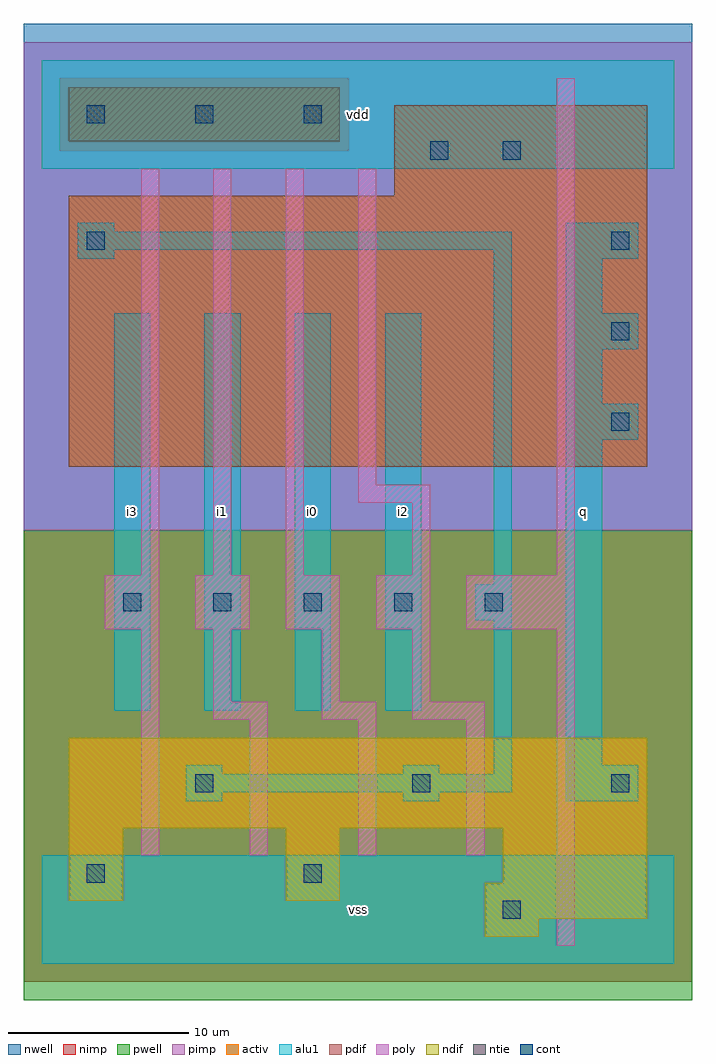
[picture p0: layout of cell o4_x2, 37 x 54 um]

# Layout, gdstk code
import gdstk
lib = gdstk.Library(unit=1e-6, precision=1e-09)
def R(c, l, rs):  # rectangles x0, y0, x1, y1
    for r in rs: c.add(gdstk.rectangle(r[:2], r[2:], *l))
def A(c, l, x, y, w, h, nx, ny, dx, dy):  # array of equal rectangles
    R(c, l, [(x+i*dx, y+j*dy, x+i*dx+w, y+j*dy+h) for i in range(nx) for j in range(ny)])
ndif = (3, 0)
pdif = (4, 0)
ntie = (5, 0)
cont = (25, 0)
pwell = (41, 0)
nwell = (42, 0)
activ = (43, 0)
pimp = (44, 0)
nimp = (45, 0)
poly = (46, 0)
alu1 = (49, 0)

o4_x2 = lib.new_cell('o4_x2')
R(o4_x2, ndif, [(24.5,1.5,27.5,2.5), (24.5,2.5,33.5,4.5), (1.5,3.5,4.5,7.5), (13.5,3.5,16.5,7.5), (25.5,4.5,33.5,7.5), (1.5,7.5,33.5,12.5)])
R(o4_x2, pdif, [(1.5,27.5,33.5,42.5), (19.5,42.5,33.5,47.5)])
R(o4_x2, ntie, [(1.5,45.5,16.5,48.5)])
A(o4_x2, cont, 4.5, 19.5, 1, 1, 5, 1, 5, 0)
A(o4_x2, cont, 31.5, 29.5, 1, 1, 1, 3, 0, 5)
A(o4_x2, cont, 2.5, 46.5, 1, 1, 3, 1, 6, 0)
R(o4_x2, cont, [(25.5,2.5,26.5,3.5), (2.5,4.5,3.5,5.5), (14.5,4.5,15.5,5.5), (8.5,9.5,9.5,10.5), (20.5,9.5,21.5,10.5), (31.5,9.5,32.5,10.5), (2.5,39.5,3.5,40.5), (21.5,44.5,22.5,45.5), (25.5,44.5,26.5,45.5)])
R(o4_x2, pwell, [(-1,-2,36,24)])
R(o4_x2, nwell, [(-1,24,36,52)])
R(o4_x2, activ, [(24.5,1.5,27.5,2.5), (24.5,2.5,33.5,4.5), (1.5,3.5,4.5,7.5), (13.5,3.5,16.5,7.5), (25.5,4.5,33.5,7.5), (1.5,7.5,33.5,12.5), (1.5,27.5,33.5,42.5), (19.5,42.5,33.5,47.5), (1.5,45.5,16.5,48.5)])
R(o4_x2, pimp, [(-1,24,36,45), (-1,45,1,49), (17,45,36,49), (-1,49,36,51)])
R(o4_x2, nimp, [(-1,-1,36,24), (1,45,17,49)])
A(o4_x2, poly, 11.5, 6, 1, 7.5, 3, 1, 6, 0)
A(o4_x2, poly, 3.5, 18.5, 3, 3, 4, 1, 5, 0)
A(o4_x2, poly, 5.5, 21.5, 1, 22.5, 3, 1, 4, 0)
R(o4_x2, poly, [(28.5,1,29.5,18.5), (5.5,6,6.5,18.5), (9.5,13.5,12.5,14.5), (15.5,13.5,18.5,14.5), (20.5,13.5,24.5,14.5), (9.5,14.5,10.5,18.5), (15.5,14.5,16.5,18.5), (20.5,14.5,21.5,18.5), (23.5,18.5,29.5,21.5), (20.5,21.5,21.5,25.5), (28.5,21.5,29.5,49), (17.5,25.5,21.5,26.5), (17.5,26.5,18.5,44)])
A(o4_x2, alu1, 4, 14, 2, 22, 4, 1, 5, 0)
A(o4_x2, alu1, 29, 29, 4, 2, 1, 3, 0, 5)
R(o4_x2, alu1, [(0,0,35,6), (8,9,10,9.5), (20,9,22,9.5), (29,9,33,11), (8,9.5,26,10.5), (8,10.5,10,11), (20,10.5,22,11), (25,10.5,26,19), (29,11,31,29), (24,19,26,21), (25,21,26,39.5), (29,31,31,34), (29,36,31,39), (2,39,4,39.5), (2,39.5,26,40.5), (2,40.5,4,41), (0,44,35,50)])
o4_x2.add(gdstk.Label('i3', (5,25), layer=49, texttype=0))
o4_x2.add(gdstk.Label('i0', (15,25), layer=49, texttype=0))
o4_x2.add(gdstk.Label('i1', (10,25), layer=49, texttype=0))
o4_x2.add(gdstk.Label('vss', (17.5,3), layer=49, texttype=0))
o4_x2.add(gdstk.Label('i2', (20,25), layer=49, texttype=0))
o4_x2.add(gdstk.Label('vdd', (17.5,47), layer=49, texttype=0))
o4_x2.add(gdstk.Label('q', (30,25), layer=49, texttype=0))

lib.write_gds('o4_x2.gds')
